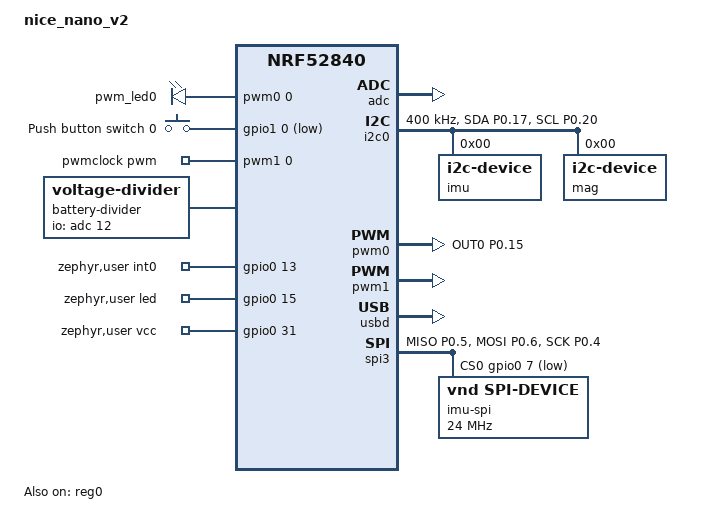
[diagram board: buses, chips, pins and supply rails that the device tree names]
// Copyright (c) 2024 Nordic Semiconductor ASA
// SPDX-License-Identifier: Apache-2.0

/dts-v1/;
#include <nordic/nrf52840_qiaa.dtsi>

/*
 * nice!nano v2 Pro Micro compatible pin mapping:
 * D0  = P0.00,  D1  = P0.01,  D2  = P0.15,  D3  = P0.14,  D4  = P0.13
 * D5  = P0.12,  D6  = P0.11,  D7  = P0.10,  D8  = P0.09,  D9  = P0.08
 * D10 = P0.07,  D11 = P0.24,  D12 = P0.25,  D13 = P0.02,  D14 = P0.05
 * D15 = P0.04,  D16 = P0.06,  D18 = P1.02,  D19 = P1.04,  D20 = P0.17
 * D21 = P0.20,  D22 = P1.00,  D23 = P0.29,  D24 = P1.07,  D25 = P0.31
 */

&pinctrl {
	i2c0_default: i2c0_default {
		group1 {
			psels = <NRF_PSEL(TWIM_SDA, 0, 17)>, <NRF_PSEL(TWIM_SCL, 0, 20)>; /* D20/D21 */
			bias-disable;
		};
	};

	i2c0_sleep: i2c0_sleep {
		group1 {
			psels = <NRF_PSEL(TWIM_SDA, 0, 17)>, <NRF_PSEL(TWIM_SCL, 0, 20)>;
			bias-disable;
			low-power-enable;
		};
	};

	pwm0_default: pwm0_default {
		group1 {
			psels = <NRF_PSEL(PWM_OUT0, 0, 15)>; /* D2 */
			nordic,drive-mode = <NRF_DRIVE_D0S1>;
		};
	};

	pwm0_sleep: pwm0_sleep {
		group1 {
			psels = <NRF_PSEL(PWM_OUT0, 0, 15)>;
			low-power-enable;
		};
	};

	pwm1_default: pwm1_default {
		group1 {
			psels = <NRF_PIN_DISCONNECTED>;
		};
	};

	pwm1_sleep: pwm1_sleep {
		group1 {
			psels = <NRF_PIN_DISCONNECTED>;
			low-power-enable;
		};
	};

	spi3_default: spi3_default {
		group1 {
			psels = <NRF_PSEL(SPIM_MISO, 0, 5)>,   /* D14 */
				<NRF_PSEL(SPIM_MOSI, 0, 6)>,   /* D16 */
				<NRF_PSEL(SPIM_SCK, 0, 4)>;    /* D15 */
		};
	};

	spi3_sleep: spi3_sleep {
		group1 {
			psels = <NRF_PSEL(SPIM_MISO, 0, 5)>,
				<NRF_PSEL(SPIM_MOSI, 0, 6)>,
				<NRF_PSEL(SPIM_SCK, 0, 4)>;
			low-power-enable;
		};
	};
};

/ {
	model = "nice_nano_v2";
	compatible = "nice_nano_v2";

	chosen {
		zephyr,sram = &sram0;
		zephyr,flash = &flash0;
		zephyr,console = &cdc_acm_uart0;
		zephyr,shell-uart = &cdc_acm_uart0;
	};

	pwmleds {
		compatible = "pwm-leds";
		pwm_led0: pwm_led_0 {
			pwms = <&pwm0 0 PWM_MSEC(1) PWM_POLARITY_NORMAL>;
		};
	};

	buttons {
		compatible = "gpio-keys";
		button0: button_0 {
			gpios = <&gpio1 0 (GPIO_PULL_UP | GPIO_ACTIVE_LOW)>; /* D22 */
			label = "Push button switch 0";
		};
	};

	aliases {
		sw0 = &button0;
		pwm-led0 = &pwm_led0;
	};

	pwmclock: pwmclock {
		compatible = "pwm-clock";
		#clock-cells = <1>;
		pwms = <&pwm1 0 PWM_HZ(32768) PWM_POLARITY_NORMAL>;
	};

	/* Use internal VDDHDIV5 to sense battery voltage.
	 * nice!nano v2 does not have an external battery divider.
	 */
	battery-divider {
		compatible = "voltage-divider";
		status = "okay";
		io-channels = <&adc 12>; /* VDDHDIV5 */
		output-ohms = <1>;
		full-ohms = <5>;
	};

	/* Application-specific GPIO assignments.
	 * Change these to match your actual wiring.
	 */
	zephyr,user {
		int0-gpios = <&gpio0 13 0>;              /* D4  - IMU interrupt */
		led-gpios = <&gpio0 15 GPIO_OPEN_SOURCE>; /* D2  - Status LED */
		vcc-gpios = <&gpio0 31 0>;               /* D25 - Sensor power enable */
	};
};

&reg0 {
	status = "okay";
};

&reg1 {
	regulator-initial-mode = <NRF5X_REG_MODE_DCDC>;
};

&adc {
	status = "okay";
};

&gpiote {
	status = "okay";
};

&gpio0 {
	status = "okay";
};

&gpio1 {
	status = "okay";
};

&i2c0 {
	compatible = "nordic,nrf-twim";
	status = "okay";
	zephyr,concat-buf-size = <1023>;
	zephyr,flash-buf-max-size = <1023>;
	clock-frequency = <I2C_BITRATE_FAST>;
	pinctrl-0 = <&i2c0_default>;
	pinctrl-1 = <&i2c0_sleep>;
	pinctrl-names = "default", "sleep";

	imu: imu@0 {
		compatible = "i2c-device";
		label = "imu";
		reg = <0>;
	};

	mag: mag@0 {
		compatible = "i2c-device";
		label = "mag";
		reg = <0>;
	};
};

&pwm0 {
	status = "okay";
	pinctrl-0 = <&pwm0_default>;
	pinctrl-1 = <&pwm0_sleep>;
	pinctrl-names = "default", "sleep";
};

&pwm1 {
	status = "okay";
	pinctrl-0 = <&pwm1_default>;
	pinctrl-1 = <&pwm1_sleep>;
	pinctrl-names = "default", "sleep";
};

zephyr_udc0: &usbd {
	compatible = "nordic,nrf-usbd";
	status = "okay";
	cdc_acm_uart0: cdc_acm_uart0 {
		compatible = "zephyr,cdc-acm-uart";
	};
};

&cryptocell {
	status = "disabled";
};

&nfct {
	status = "disabled";
};

&spi3 {
	compatible = "nordic,nrf-spim";
	status = "okay";
	max-frequency = <DT_FREQ_M(24)>;
	pinctrl-0 = <&spi3_default>;
	pinctrl-1 = <&spi3_sleep>;
	pinctrl-names = "default", "sleep";
	cs-gpios = <&gpio0 7 GPIO_ACTIVE_LOW>; /* D10 */

	imu_spi: imu_spi@0 {
		compatible = "vnd,spi-device";
		spi-max-frequency = <DT_FREQ_M(24)>;
		label = "imu-spi";
		reg = <0>;
	};
};
